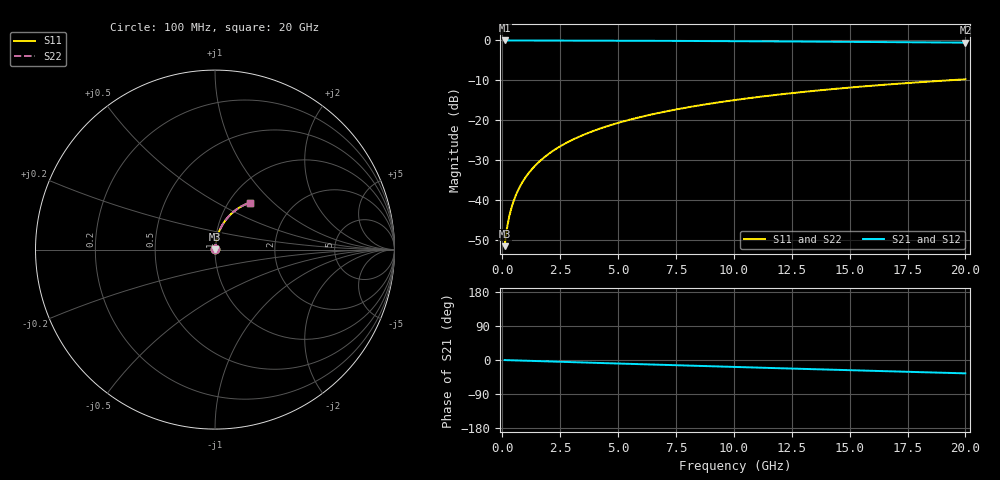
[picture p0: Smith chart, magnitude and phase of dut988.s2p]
! Touchstone file exported from HFSS 2026.1.0
!  File:  C:/ffzhzh/LocalFiles/Ansys_Project_Files/temp_train_TMRDL_988_1783159312_22436.aedt
!  Generated:  06:03:05 PM Jul  4, 2026
!  Design:  TMRDL
!  Project:  temp_train_TMRDL_988_1783159312_22436
! Variables:
!  h_bsmrdl = 2um
!  h_ox = 20um
!  h_rdl = 5um
!  h_sub = 80um
!  h_tmrdl = 4.44um
!  h_tsv = 80um
!  h_via = 3um
!  l_bsmrdl = 300um
!  l_sub = 894.41um
!  l_tmrdl = 494.41um
!  m_sub = 200um
!  pitch = 57.76um
!  r_tsv = 6um
!  s_tmrdl = 10um
!  w_bsmrdl = 18um
!  w_sub = 500um
!  w_tmrdl = 26.97um
!  x_tsv_center1 = 507.895um
!  x_tsv_center2 = 825.895um
!  x_tsv_center3 = 1347.275um
!  x_tsv_center4 = 1665.275um
!  x_tsv_center5 = 2186.655um
!  x_tsv_center6 = 2504.655um
# GHz S MA R 50.000000
! Terminal data exported
! Port[1] = TM_RDL1_1_T1
! Port[2] = TM_RDL1_1_T2
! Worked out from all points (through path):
!   200 points, 100 MHz to 20 GHz, reference 50 ohm
!   highest |S21| = -0.01 dB at 100 MHz (marker M1); lowest = -0.6 dB at 20 GHz (marker M2)
!   group delay of S21, straight-line fit = 4.89 ps
!   lowest |S11| = -51.5 dB at 100 MHz (marker M3), VSWR 1.01, Z = 50.2 + j0.207 ohm
!   |S11| at or under -10 dB: start of sweep to 19.25 GHz
!   |S22| runs from -51.5 to -9.7 dB; largest |S21 - S12| = 2.7e-15
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0.1  0.002657 50.8  0.9983 -0.2  0.9983 -0.2  0.002657 50.8
! Gamma 0 0 0 0
! Port Impedance 50 0 50 0
0.2  0.004437 65.8  0.9982 -0.4  0.9982 -0.4  0.004438 65.8
0.3  0.006282 71.8  0.9981 -0.6  0.9981 -0.6  0.006283 71.8
0.4  0.008124 75.0  0.998 -0.8  0.998 -0.8  0.008125 75.0
0.5  0.009966 77.1  0.9979 -1.0  0.9979 -1.0  0.009967 77.1
0.7  0.01366 79.6  0.9978 -1.3  0.9978 -1.3  0.01366 79.6
0.8  0.01552 80.3  0.9977 -1.5  0.9977 -1.5  0.01552 80.3
1  0.01924 81.4  0.9976 -1.9  0.9976 -1.9  0.01924 81.3
1.2  0.02298 81.9  0.9975 -2.3  0.9975 -2.3  0.02298 81.9
1.4  0.02672 82.2  0.9973 -2.6  0.9973 -2.6  0.02672 82.2
1.7  0.03233 82.4  0.9971 -3.2  0.9971 -3.2  0.03233 82.4
2  0.03793 82.3  0.9967 -3.8  0.9967 -3.8  0.03793 82.3
2.7  0.05093 81.7  0.9958 -5.1  0.9958 -5.1  0.05093 81.7
3.5  0.06565 80.6  0.9946 -6.5  0.9946 -6.5  0.06564 80.6
4.2  0.07838 79.5  0.9933 -7.8  0.9933 -7.8  0.07838 79.5
5  0.09276 78.2  0.9916 -9.3  0.9916 -9.3  0.09276 78.2
6.8  0.1245 75.2  0.9873 -12.6  0.9873 -12.6  0.1245 75.2
8.3  0.1502 72.7  0.9832 -15.3  0.9832 -15.3  0.1502 72.7
10.1  0.1802 69.6  0.9776 -18.4  0.9776 -18.4  0.1802 69.6
13.4  0.2327 64.1  0.9657 -24.2  0.9657 -24.2  0.2327 64.1
16.7  0.2814 58.7  0.9521 -29.8  0.9521 -29.8  0.2814 58.7
20  0.3259 53.4  0.9375 -35.2  0.9375 -35.2  0.3259 53.4
